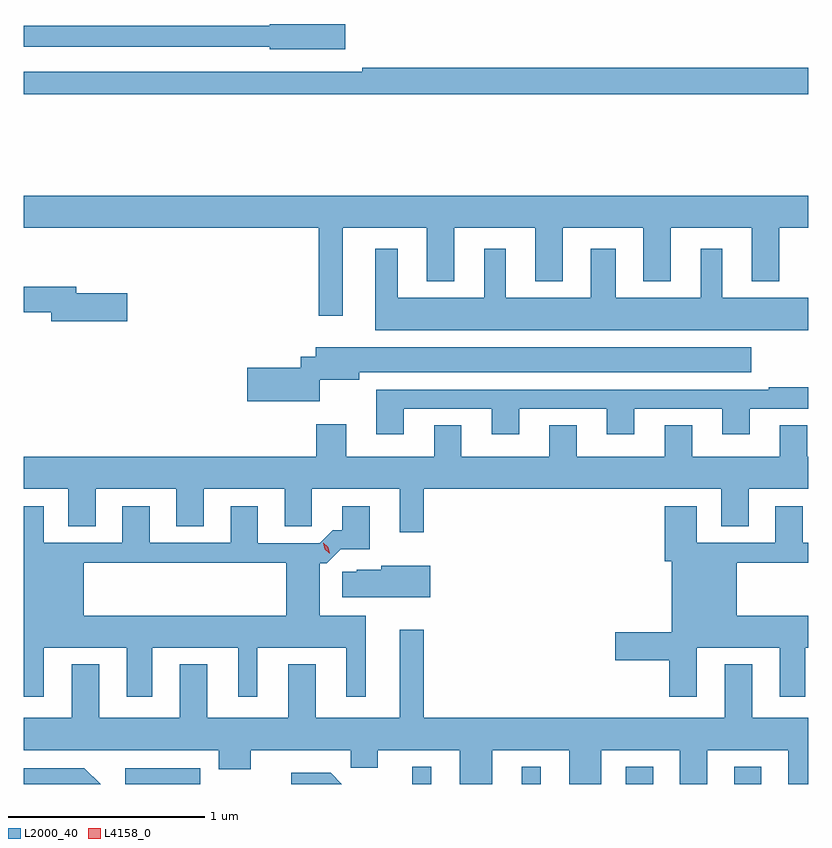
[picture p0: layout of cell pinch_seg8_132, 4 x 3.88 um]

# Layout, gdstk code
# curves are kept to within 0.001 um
import gdstk
lib = gdstk.Library(unit=1e-6, precision=1e-09)
def R(c, l, rs):  # rectangles x0, y0, x1, y1
    for r in rs: c.add(gdstk.rectangle(r[:2], r[2:], *l))
def P(c, l, *ps):  # polygons
    for p in ps: c.add(gdstk.Polygon(p, *l))
L2000_40 = (2000, 40)
L4158_0 = (4158, 0)

pinch_seg8_132 = lib.new_cell('pinch_seg8_132')
R(pinch_seg8_132, L2000_40, [(813.963,1132.311,814.345,1132.392), (815.426,1132.311,815.524,1132.399), (815.984,1132.311,816.082,1132.399), (816.515,1132.311,816.655,1132.399), (817.067,1132.311,817.207,1132.399)])
P(pinch_seg8_132, L2000_40, [(815.083,1136.187),(814.698,1136.187),(814.698,1136.179),(813.445,1136.179),(813.445,1136.07),(814.698,1136.07),(814.698,1136.057),(815.083,1136.057)],
  [(817.445,1135.964),(815.17,1135.964),(815.17,1135.944),(813.445,1135.944),(813.445,1135.828),(817.445,1135.828)],
  [(815.071,1135.148),(815.501,1135.148),(815.501,1134.875),(815.641,1134.875),(815.641,1135.148),(816.053,1135.148),(816.053,1134.875),(816.193,1134.875),(816.193,1135.148),(816.605,1135.148),(816.605,1134.875),(816.745,1134.875),(816.745,1135.148),(817.157,1135.148),(817.157,1134.875),(817.297,1134.875),(817.297,1135.148),(817.445,1135.148),(817.445,1135.312),(813.445,1135.312),(813.445,1135.148),(814.95,1135.148),(814.95,1134.699),(815.071,1134.699)],
  [(817.445,1134.79),(817.006,1134.79),(817.006,1135.042),(816.896,1135.042),(816.896,1134.79),(816.463,1134.79),(816.463,1135.042),(816.335,1135.042),(816.335,1134.79),(815.902,1134.79),(815.902,1135.042),(815.792,1135.042),(815.792,1134.79),(815.353,1134.79),(815.353,1135.042),(815.237,1135.042),(815.237,1134.626),(817.445,1134.626)],
  [(813.973,1134.813),(813.712,1134.813),(813.712,1134.847),(813.445,1134.847),(813.445,1134.718),(813.584,1134.718),(813.584,1134.671),(813.973,1134.671)],
  [(814.953,1134.373),(815.155,1134.373),(815.155,1134.41),(817.156,1134.41),(817.156,1134.538),(814.934,1134.538),(814.934,1134.491),(814.857,1134.491),(814.857,1134.434),(814.584,1134.434),(814.584,1134.263),(814.953,1134.263)],
  [(815.383,1134.225),(815.831,1134.225),(815.831,1134.096),(815.971,1134.096),(815.971,1134.225),(816.419,1134.225),(816.419,1134.096),(816.559,1134.096),(816.559,1134.225),(817.007,1134.225),(817.007,1134.096),(817.147,1134.096),(817.147,1134.225),(817.445,1134.225),(817.445,1134.334),(817.243,1134.334),(817.243,1134.321),(815.243,1134.321),(815.243,1134.096),(815.383,1134.096)],
  [(815.363,1133.595),(815.485,1133.595),(815.485,1133.816),(817.001,1133.816),(817.001,1133.626),(817.141,1133.626),(817.141,1133.816),(817.445,1133.816),(817.445,1133.98),(817.441,1133.98),(817.441,1134.14),(817.301,1134.14),(817.301,1133.98),(816.853,1133.98),(816.853,1134.14),(816.713,1134.14),(816.713,1133.98),(816.265,1133.98),(816.265,1134.14),(816.125,1134.14),(816.125,1133.98),(815.677,1133.98),(815.677,1134.14),(815.537,1134.14),(815.537,1133.98),(815.089,1133.98),(815.089,1134.145),(814.937,1134.145),(814.937,1133.98),(813.445,1133.98),(813.445,1133.816),(813.671,1133.816),(813.671,1133.626),(813.811,1133.626),(813.811,1133.816),(814.223,1133.816),(814.223,1133.626),(814.363,1133.626),(814.363,1133.816),(814.775,1133.816),(814.775,1133.626),(814.914,1133.626),(814.914,1133.816),(815.363,1133.816)],
  [(813.547,1132.755),(813.547,1133.006),(813.971,1133.006),(813.971,1132.755),(814.099,1132.755),(814.099,1133.006),(814.538,1133.006),(814.538,1132.755),(814.636,1132.755),(814.636,1133.006),(815.09,1133.006),(815.09,1132.755),(815.188,1132.755),(815.188,1133.17),(814.954,1133.17),(814.954,1133.438),(814.991,1133.438),(815.061,1133.508),(815.209,1133.508),(815.209,1133.728),(815.069,1133.728),(815.069,1133.605),(815.02,1133.605),(814.953,1133.538),(814.639,1133.538),(814.639,1133.728),(814.499,1133.728),(814.499,1133.541),(814.087,1133.541),(814.087,1133.728),(813.947,1133.728),(813.947,1133.541),(813.547,1133.541),(813.547,1133.728),(813.445,1133.728),(813.445,1133.17),(813.751,1133.17),(813.751,1133.44),(814.784,1133.44),(814.784,1133.17),(813.445,1133.17),(813.445,1132.755)],
  [(816.877,1133.006),(817.301,1133.006),(817.301,1132.755),(817.429,1132.755),(817.429,1133.006),(817.445,1133.006),(817.445,1133.17),(817.081,1133.17),(817.081,1133.44),(817.445,1133.44),(817.445,1133.541),(817.417,1133.541),(817.417,1133.728),(817.277,1133.728),(817.277,1133.541),(816.877,1133.541),(816.877,1133.728),(816.713,1133.728),(816.713,1133.448),(816.749,1133.448),(816.749,1133.084),(816.462,1133.084),(816.462,1132.942),(816.737,1132.942),(816.737,1132.755),(816.877,1132.755)],
  [(815.518,1133.425),(815.268,1133.425),(815.268,1133.404),(815.142,1133.404),(815.142,1133.393),(815.07,1133.393),(815.07,1133.264),(815.518,1133.264)],
  [(815.833,1132.484),(816.227,1132.484),(816.227,1132.311),(816.391,1132.311),(816.391,1132.484),(816.791,1132.484),(816.791,1132.311),(816.931,1132.311),(816.931,1132.484),(817.343,1132.484),(817.343,1132.311),(817.445,1132.311),(817.445,1132.648),(817.159,1132.648),(817.159,1132.921),(817.019,1132.921),(817.019,1132.648),(815.485,1132.648),(815.485,1133.098),(815.363,1133.098),(815.363,1132.648),(814.933,1132.648),(814.933,1132.921),(814.793,1132.921),(814.793,1132.648),(814.381,1132.648),(814.381,1132.921),(814.241,1132.921),(814.241,1132.648),(813.829,1132.648),(813.829,1132.921),(813.689,1132.921),(813.689,1132.648),(813.445,1132.648),(813.445,1132.484),(814.439,1132.484),(814.439,1132.385),(814.603,1132.385),(814.603,1132.484),(815.113,1132.484),(815.113,1132.394),(815.251,1132.394),(815.251,1132.484),(815.669,1132.484),(815.669,1132.311),(815.833,1132.311)],
  [(813.754,1132.392),(813.445,1132.392),(813.445,1132.311),(813.836,1132.311)],
  [(815.009,1132.369),(814.809,1132.369),(814.809,1132.311),(815.067,1132.311)])
P(pinch_seg8_132, L4158_0, [(815.003,1133.487),(814.979,1133.509),(814.972,1133.541),(814.972,1133.541),(814.973,1133.541),(814.997,1133.519),(815.004,1133.487),(815.004,1133.487)])

lib.write_gds('pinch_seg8_132.gds')
